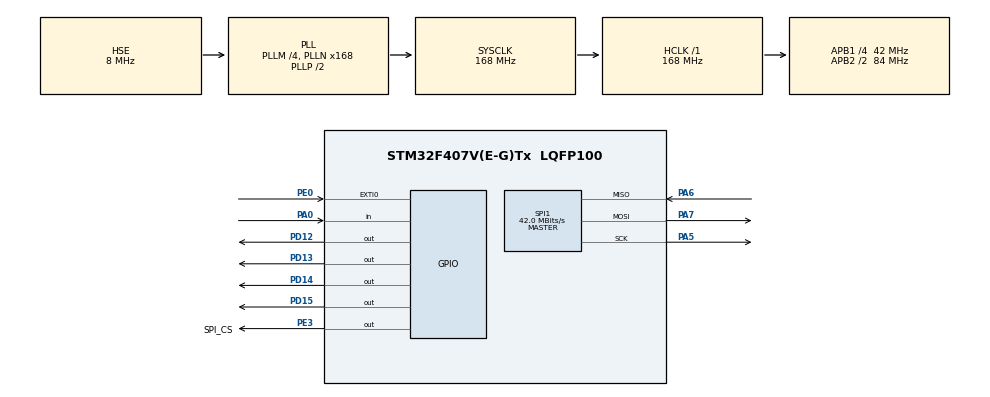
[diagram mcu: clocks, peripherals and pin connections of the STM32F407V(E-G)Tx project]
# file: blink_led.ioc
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Mcu.Family=STM32F4
Mcu.Name=STM32F407V(E-G)Tx
Mcu.Package=LQFP100
NVIC.EXTI0_IRQn=true\:0\:0\:false\:false\:true\:true\:true\:true
NVIC.PriorityGroup=NVIC_PRIORITYGROUP_4
PA0-WKUP.Signal=GPIO_Input
PA13.Mode=Serial_Wire
PA13.Signal=SYS_JTMS-SWDIO
PA14.Mode=Serial_Wire
PA14.Signal=SYS_JTCK-SWCLK
PA5.Mode=Full_Duplex_Master
PA5.Signal=SPI1_SCK
PA6.Mode=Full_Duplex_Master
PA6.Signal=SPI1_MISO
PA7.Mode=Full_Duplex_Master
PA7.Signal=SPI1_MOSI
PD12.Signal=GPIO_Output
PD13.Signal=GPIO_Output
PD14.Signal=GPIO_Output
PD15.Signal=GPIO_Output
PE0.Signal=GPXTI0
PE3.GPIO_Label=SPI_CS
PE3.PinState=GPIO_PIN_SET
PE3.Signal=GPIO_Output
PH0-OSC_IN.Mode=HSE-External-Oscillator
PH0-OSC_IN.Signal=RCC_OSC_IN
PH1-OSC_OUT.Mode=HSE-External-Oscillator
PH1-OSC_OUT.Signal=RCC_OSC_OUT
ProjectManager.HeapSize=0x200
ProjectManager.StackSize=0x400
ProjectManager.TargetToolchain=MDK-ARM V5.32
RCC.48MHZClocksFreq_Value=84000000
RCC.AHBFreq_Value=168000000
RCC.APB1CLKDivider=RCC_HCLK_DIV4
RCC.APB1Freq_Value=42000000
RCC.APB1TimFreq_Value=84000000
RCC.APB2CLKDivider=RCC_HCLK_DIV2
RCC.APB2Freq_Value=84000000
RCC.APB2TimFreq_Value=168000000
RCC.CortexFreq_Value=168000000
RCC.HCLKFreq_Value=168000000
RCC.HSE_VALUE=8000000
RCC.HSI_VALUE=16000000
RCC.LSE_VALUE=32768
RCC.PLLM=4
RCC.PLLN=168
RCC.PLLSourceVirtual=RCC_PLLSOURCE_HSE
RCC.SYSCLKFreq_VALUE=168000000
RCC.SYSCLKSource=RCC_SYSCLKSOURCE_PLLCLK
RCC.VCOOutputFreq_Value=336000000
SPI1.BaudRatePrescaler=SPI_BAUDRATEPRESCALER_2
SPI1.CalculateBaudRate=42.0 MBits/s
SPI1.Direction=SPI_DIRECTION_2LINES
SPI1.Mode=SPI_MODE_MASTER
SPI1.VirtualType=VM_MASTER
board=custom

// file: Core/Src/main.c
/* USER CODE BEGIN Header */
/**
  ******************************************************************************
  * @file           : main.c
  * @brief          : Main program body
  ******************************************************************************
  * @attention
  *
  * Copyright (c) 2023 STMicroelectronics.
  * All rights reserved.
  *
  * This software is licensed under terms that can be found in the LICENSE file
  * in the root directory of this software component.
  * If no LICENSE file comes with this software, it is provided AS-IS.
  *
  ******************************************************************************
  */
/* USER CODE END Header */
#include "main.h"

SPI_HandleTypeDef hspi1;

/* USER CODE BEGIN PV */
uint8_t spi_tx_buf[2], spi_rx_buf[2];

/* USER CODE END PV */

void SystemClock_Config(void);
static void MX_GPIO_Init(void);
static void MX_SPI1_Init(void);

/* USER CODE BEGIN 0 */
GPIO_PinState btn_status;
char tx_data[10] = "hello\r\n";
char rx_data[10];
/* USER CODE END 0 */

int main(void)
{

  /* MCU Configuration--------------------------------------------------------*/

  /* Reset of all peripherals, Initializes the Flash interface and the Systick. */
  HAL_Init();

  /* Configure the system clock */
  SystemClock_Config();

  /* Initialize all configured peripherals */
  MX_GPIO_Init();
  MX_SPI1_Init();
  /* USER CODE BEGIN 2 */

	HAL_GPIO_WritePin(SPI_CS_GPIO_Port, SPI_CS_Pin, GPIO_PIN_RESET); // CS --> GND
	spi_tx_buf[0] = 0x20;
	spi_tx_buf[1] = 0x17;
	HAL_SPI_Transmit(&hspi1, spi_tx_buf, 2, 10); // 10 ms wait
	HAL_GPIO_WritePin(GPIOE, GPIO_PIN_3, GPIO_PIN_SET);

	HAL_GPIO_WritePin(GPIOE, GPIO_PIN_3, GPIO_PIN_RESET);
	spi_tx_buf[0] = 0x20 | 0x80;
	HAL_SPI_Transmit(&hspi1, spi_tx_buf, 1, 10); // 10 ms
	HAL_SPI_Receive(&hspi1, spi_rx_buf, 1, 10); // 10 ms
	HAL_GPIO_WritePin(GPIOE, GPIO_PIN_3, GPIO_PIN_SET);
  /* USER CODE END 2 */

  /* Infinite loop */
  /* USER CODE BEGIN WHILE */

  while (1)
  {

		HAL_GPIO_WritePin(GPIOE, GPIO_PIN_3, GPIO_PIN_RESET);
		spi_tx_buf[0] = 0x29 | 0x80;
		HAL_SPI_Transmit(&hspi1, spi_tx_buf, 1, 10); // 10 ms
		HAL_SPI_Receive(&hspi1, spi_rx_buf, 1, 10); // 10 ms
		HAL_GPIO_WritePin(GPIOE, GPIO_PIN_3, GPIO_PIN_SET);
    /* USER CODE END WHILE */

    /* USER CODE BEGIN 3 */

		HAL_Delay(300);
  }
  /* USER CODE END 3 */
}

void SystemClock_Config(void)
{
  RCC_OscInitTypeDef RCC_OscInitStruct = {0};
  RCC_ClkInitTypeDef RCC_ClkInitStruct = {0};

  /** Configure the main internal regulator output voltage
  */
  __HAL_RCC_PWR_CLK_ENABLE();
  __HAL_PWR_VOLTAGESCALING_CONFIG(PWR_REGULATOR_VOLTAGE_SCALE1);

  /** Initializes the RCC Oscillators according to the specified parameters
  * in the RCC_OscInitTypeDef structure.
  */
  RCC_OscInitStruct.OscillatorType = RCC_OSCILLATORTYPE_HSE;
  RCC_OscInitStruct.HSEState = RCC_HSE_ON;
  RCC_OscInitStruct.PLL.PLLState = RCC_PLL_ON;
  RCC_OscInitStruct.PLL.PLLSource = RCC_PLLSOURCE_HSE;
  RCC_OscInitStruct.PLL.PLLM = 4;
  RCC_OscInitStruct.PLL.PLLN = 168;
  RCC_OscInitStruct.PLL.PLLP = RCC_PLLP_DIV2;
  RCC_OscInitStruct.PLL.PLLQ = 4;
  if (HAL_RCC_OscConfig(&RCC_OscInitStruct) != HAL_OK)
  {
    Error_Handler();
  }

  /** Initializes the CPU, AHB and APB buses clocks
  */
  RCC_ClkInitStruct.ClockType = RCC_CLOCKTYPE_HCLK|RCC_CLOCKTYPE_SYSCLK
                              |RCC_CLOCKTYPE_PCLK1|RCC_CLOCKTYPE_PCLK2;
  RCC_ClkInitStruct.SYSCLKSource = RCC_SYSCLKSOURCE_PLLCLK;
  RCC_ClkInitStruct.AHBCLKDivider = RCC_SYSCLK_DIV1;
  RCC_ClkInitStruct.APB1CLKDivider = RCC_HCLK_DIV4;
  RCC_ClkInitStruct.APB2CLKDivider = RCC_HCLK_DIV2;

  if (HAL_RCC_ClockConfig(&RCC_ClkInitStruct, FLASH_LATENCY_5) != HAL_OK)
  {
    Error_Handler();
  }
}

static void MX_SPI1_Init(void)
{

  /* SPI1 parameter configuration*/
  hspi1.Instance = SPI1;
  hspi1.Init.Mode = SPI_MODE_MASTER;
  hspi1.Init.Direction = SPI_DIRECTION_2LINES;
  hspi1.Init.DataSize = SPI_DATASIZE_8BIT;
  hspi1.Init.CLKPolarity = SPI_POLARITY_LOW;
  hspi1.Init.CLKPhase = SPI_PHASE_1EDGE;
  hspi1.Init.NSS = SPI_NSS_SOFT;
  hspi1.Init.BaudRatePrescaler = SPI_BAUDRATEPRESCALER_2;
  hspi1.Init.FirstBit = SPI_FIRSTBIT_MSB;
  hspi1.Init.TIMode = SPI_TIMODE_DISABLE;
  hspi1.Init.CRCCalculation = SPI_CRCCALCULATION_DISABLE;
  hspi1.Init.CRCPolynomial = 10;
  if (HAL_SPI_Init(&hspi1) != HAL_OK)
  {
    Error_Handler();
  }

}

static void MX_GPIO_Init(void)
{
  GPIO_InitTypeDef GPIO_InitStruct = {0};

  /* GPIO Ports Clock Enable */
  __HAL_RCC_GPIOE_CLK_ENABLE();
  __HAL_RCC_GPIOH_CLK_ENABLE();
  __HAL_RCC_GPIOA_CLK_ENABLE();
  __HAL_RCC_GPIOD_CLK_ENABLE();

  /*Configure GPIO pin Output Level */
  HAL_GPIO_WritePin(SPI_CS_GPIO_Port, SPI_CS_Pin, GPIO_PIN_SET);

  /*Configure GPIO pin Output Level */
  HAL_GPIO_WritePin(GPIOD, GPIO_PIN_12|GPIO_PIN_13|GPIO_PIN_14|GPIO_PIN_15, GPIO_PIN_RESET);

  /*Configure GPIO pin : SPI_CS_Pin */
  GPIO_InitStruct.Pin = SPI_CS_Pin;
  GPIO_InitStruct.Mode = GPIO_MODE_OUTPUT_PP;
  GPIO_InitStruct.Pull = GPIO_NOPULL;
  GPIO_InitStruct.Speed = GPIO_SPEED_FREQ_LOW;
  HAL_GPIO_Init(SPI_CS_GPIO_Port, &GPIO_InitStruct);

  /*Configure GPIO pin : PA0 */
  GPIO_InitStruct.Pin = GPIO_PIN_0;
  GPIO_InitStruct.Mode = GPIO_MODE_INPUT;
  GPIO_InitStruct.Pull = GPIO_NOPULL;
  HAL_GPIO_Init(GPIOA, &GPIO_InitStruct);

  /*Configure GPIO pins : PD12 PD13 PD14 PD15 */
  GPIO_InitStruct.Pin = GPIO_PIN_12|GPIO_PIN_13|GPIO_PIN_14|GPIO_PIN_15;
  GPIO_InitStruct.Mode = GPIO_MODE_OUTPUT_PP;
  GPIO_InitStruct.Pull = GPIO_NOPULL;
  GPIO_InitStruct.Speed = GPIO_SPEED_FREQ_LOW;
  HAL_GPIO_Init(GPIOD, &GPIO_InitStruct);

  /*Configure GPIO pin : PE0 */
  GPIO_InitStruct.Pin = GPIO_PIN_0;
  GPIO_InitStruct.Mode = GPIO_MODE_IT_RISING;
  GPIO_InitStruct.Pull = GPIO_NOPULL;
  HAL_GPIO_Init(GPIOE, &GPIO_InitStruct);

  /* EXTI interrupt init*/
  HAL_NVIC_SetPriority(EXTI0_IRQn, 0, 0);
  HAL_NVIC_EnableIRQ(EXTI0_IRQn);

}

/* USER CODE BEGIN 4 */
// Recieve complete callback

/* USER CODE END 4 */

void Error_Handler(void)
{
  __disable_irq();
  while (1)
  {
  }
}
